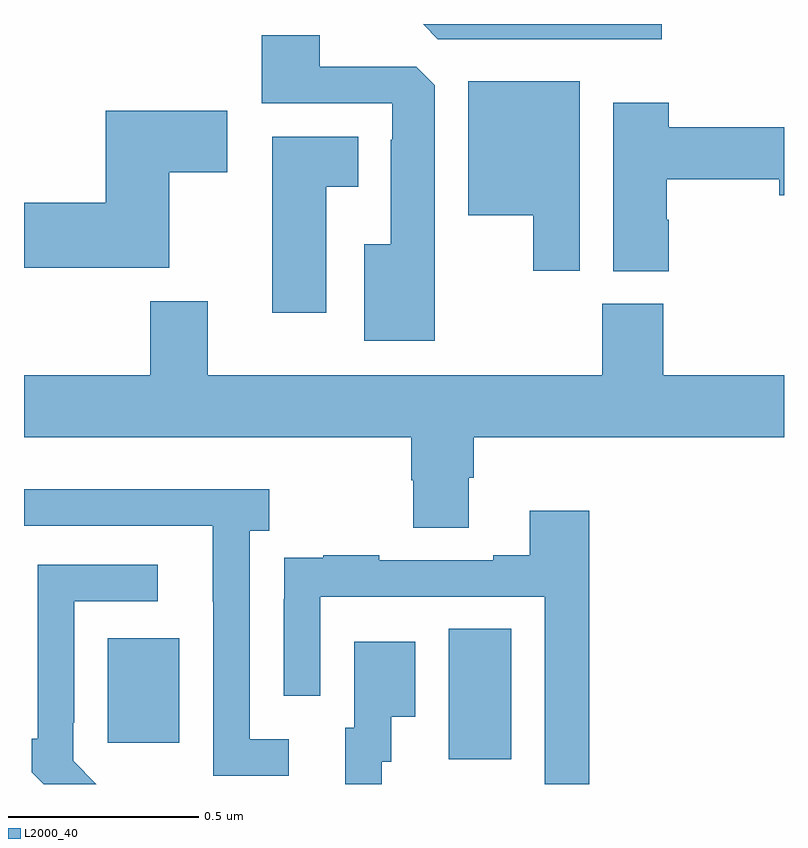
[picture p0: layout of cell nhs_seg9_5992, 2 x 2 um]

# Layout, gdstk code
import gdstk
lib = gdstk.Library(unit=1e-6, precision=1e-09)
def R(c, l, rs):  # rectangles x0, y0, x1, y1
    for r in rs: c.add(gdstk.rectangle(r[:2], r[2:], *l))
def P(c, l, *ps):  # polygons
    for p in ps: c.add(gdstk.Polygon(p, *l))
L2000_40 = (2000, 40)

nhs_seg9_5992 = lib.new_cell('nhs_seg9_5992')
R(nhs_seg9_5992, L2000_40, [(187.118,1203.565,187.282,1203.908), (186.221,1203.609,186.409,1203.883)])
P(nhs_seg9_5992, L2000_40, [(187.678,1205.5),(187.05,1205.5),(187.089,1205.46),(187.678,1205.46)],
  [(187.081,1205.339),(187.032,1205.388),(186.778,1205.388),(186.778,1205.471),(186.626,1205.471),(186.626,1205.292),(186.969,1205.292),(186.969,1205.195),(186.965,1205.195),(186.965,1204.921),(186.896,1204.921),(186.896,1204.667),(187.081,1204.667)],
  [(187.462,1205.35),(187.169,1205.35),(187.169,1204.997),(187.34,1204.997),(187.34,1204.851),(187.462,1204.851)],
  [(187.697,1204.985),(187.692,1204.985),(187.692,1205.092),(187.988,1205.092),(187.988,1205.05),(188,1205.05),(188,1205.228),(187.697,1205.228),(187.697,1205.293),(187.55,1205.293),(187.55,1204.849),(187.697,1204.849)],
  [(186.382,1205.11),(186.535,1205.11),(186.535,1205.272),(186.215,1205.272),(186.215,1205.03),(186,1205.03),(186,1204.859),(186.382,1204.859)],
  [(186.796,1205.072),(186.88,1205.072),(186.88,1205.203),(186.653,1205.203),(186.653,1204.74),(186.796,1204.74)],
  [(186.332,1204.771),(186.332,1204.576),(186,1204.576),(186,1204.412),(187.019,1204.412),(187.019,1204.299),(187.024,1204.299),(187.024,1204.174),(187.171,1204.174),(187.171,1204.306),(187.184,1204.306),(187.184,1204.412),(188,1204.412),(188,1204.576),(187.682,1204.576),(187.682,1204.764),(187.522,1204.764),(187.522,1204.576),(186.484,1204.576),(186.484,1204.771)],
  [(186.697,1203.618),(186.594,1203.618),(186.594,1204.166),(186.646,1204.166),(186.646,1204.276),(186,1204.276),(186,1204.179),(186.497,1204.179),(186.497,1203.979),(186.498,1203.979),(186.498,1203.522),(186.697,1203.522)],
  [(187.487,1204.219),(187.331,1204.219),(187.331,1204.102),(187.235,1204.102),(187.235,1204.089),(186.935,1204.089),(186.935,1204.102),(186.787,1204.102),(186.787,1204.095),(186.685,1204.095),(186.685,1203.986),(186.684,1203.986),(186.684,1203.732),(186.78,1203.732),(186.78,1203.993),(187.371,1203.993),(187.371,1203.5),(187.487,1203.5)],
  [(186.129,1203.561),(186.129,1203.661),(186.132,1203.661),(186.132,1203.981),(186.352,1203.981),(186.352,1204.077),(186.036,1204.077),(186.036,1203.619),(186.021,1203.619),(186.021,1203.531),(186.052,1203.5),(186.19,1203.5)],
  [(186.942,1203.558),(186.967,1203.558),(186.967,1203.677),(187.03,1203.677),(187.03,1203.874),(186.869,1203.874),(186.869,1203.648),(186.845,1203.648),(186.845,1203.5),(186.942,1203.5)])

lib.write_gds('nhs_seg9_5992.gds')
